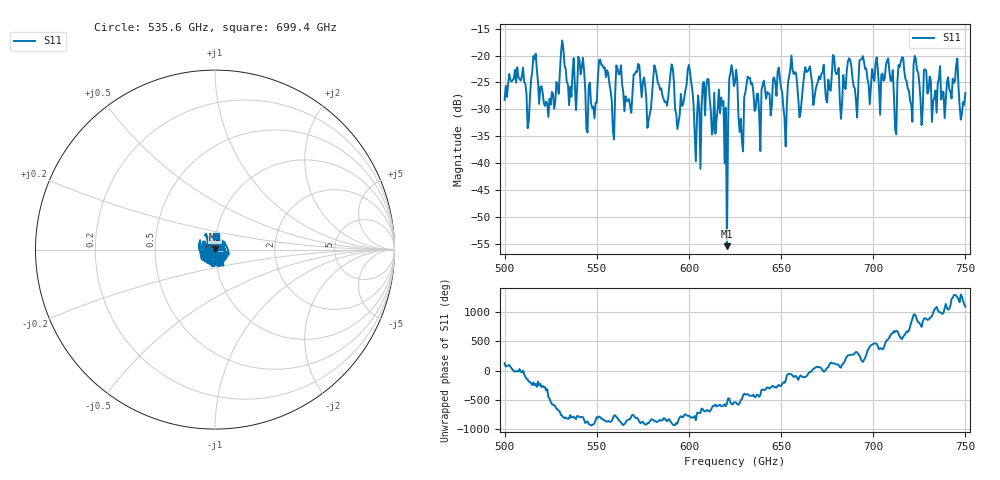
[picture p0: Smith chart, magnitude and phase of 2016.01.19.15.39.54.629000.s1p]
!Created with skrf (http://scikit-rf.org).
# GHz S RI R 50.0
!freq ReS11 ImS11
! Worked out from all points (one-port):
!   401 points, 500 GHz to 750 GHz, reference 50 ohm
!   lowest |S11| = -55.5 dB at 620.6 GHz (marker M1), VSWR 1.00, Z = 49.8 + j0.0647 ohm
!   |S11| at or under -10 dB: start of sweep to end of sweep
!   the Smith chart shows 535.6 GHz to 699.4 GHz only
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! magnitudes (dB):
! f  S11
! 500 GHz  -28.3
! 513.1 GHz  -32.2
! 516.2 GHz  -20.7
! 523.8 GHz  -31.4
! 531.2 GHz  -17.2
! 545.6 GHz  -25.7
! 552.5 GHz  -21.8
! 558.8 GHz  -34.0
! 562.5 GHz  -23.4
! 578.1 GHz  -32.0
! 590.6 GHz  -21.7
! 593.8 GHz  -33.7
! 600 GHz  -21.7
! 605 GHz  -27.5
! 609.4 GHz  -25.8
! 620.6 GHz  -55.5
! 622.5 GHz  -23.3
! 625 GHz  -25.0
! 628.1 GHz  -31.8
! 632.5 GHz  -24.2
! 637.5 GHz  -27.1
! 649.4 GHz  -24.3
! 651.9 GHz  -31.7
! 656.2 GHz  -22.7
! 660.6 GHz  -30.5
! 687.5 GHz  -20.8
! 718.8 GHz  -26.2
! 750 GHz  -27.0
